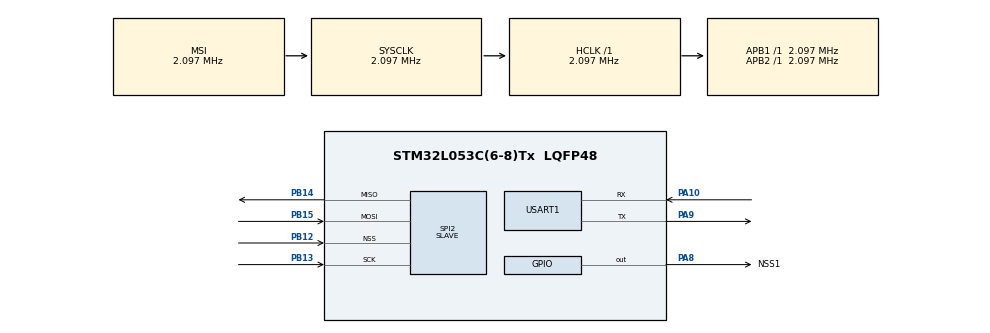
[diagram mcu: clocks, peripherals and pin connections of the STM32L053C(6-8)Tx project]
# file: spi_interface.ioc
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Mcu.Family=STM32L0
Mcu.Name=STM32L053C(6-8)Tx
Mcu.Package=LQFP48
NVIC.SPI2_IRQn=true\:0\:0\:false\:false\:true\:true\:true\:true
NVIC.USART1_IRQn=true\:0\:0\:false\:false\:true\:true\:true\:true
PA10.Mode=Asynchronous
PA10.Signal=USART1_RX
PA8.GPIO_Label=NSS1
PA8.Signal=GPIO_Output
PA9.Mode=Asynchronous
PA9.Signal=USART1_TX
PB12.Mode=NSS_Signal_Hard_Input
PB12.Signal=SPI2_NSS
PB13.Mode=Full_Duplex_Slave
PB13.Signal=SPI2_SCK
PB14.Mode=Full_Duplex_Slave
PB14.Signal=SPI2_MISO
PB15.Mode=Full_Duplex_Slave
PB15.Signal=SPI2_MOSI
ProjectManager.HeapSize=0x200
ProjectManager.StackSize=0x400
ProjectManager.TargetToolchain=STM32CubeIDE
RCC.AHBFreq_Value=2097000
RCC.APB1Freq_Value=2097000
RCC.APB1TimFreq_Value=2097000
RCC.APB2Freq_Value=2097000
RCC.APB2TimFreq_Value=2097000
RCC.HSE_VALUE=8000000
RCC.HSI16_VALUE=16000000
RCC.HSI48_VALUE=48000000
RCC.HSI_VALUE=16000000
RCC.LSE_VALUE=32768
RCC.MSI_VALUE=2097000
RCC.SYSCLKFreq_VALUE=2097000
RCC.VCOOutputFreq_Value=48000000
SPI2.DataSize=SPI_DATASIZE_8BIT
SPI2.Direction=SPI_DIRECTION_2LINES
SPI2.Mode=SPI_MODE_SLAVE
SPI2.TIMode=SPI_TIMODE_DISABLE
SPI2.VirtualNSS=VM_NSSHARD
SPI2.VirtualType=VM_SLAVE
USART1.VirtualMode-Asynchronous=VM_ASYNC
board=custom

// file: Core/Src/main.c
/* USER CODE BEGIN Header */
/**
  ******************************************************************************
  * @file           : main.c
  * @brief          : Main program body
  ******************************************************************************
  * @attention
  *
  * Copyright (c) 2022 STMicroelectronics.
  * All rights reserved.
  *
  * This software is licensed under terms that can be found in the LICENSE file
  * in the root directory of this software component.
  * If no LICENSE file comes with this software, it is provided AS-IS.
  *
  ******************************************************************************
  */
/* USER CODE END Header */
#include "main.h"

/* USER CODE BEGIN Includes */
#include <stdio.h>
#include "Command_Handler.h"
#include <string.h>
/* USER CODE END Includes */

 SPI_HandleTypeDef hspi2;

UART_HandleTypeDef huart1;

void SystemClock_Config(void);
static void MX_GPIO_Init(void);
static void MX_SPI2_Init(void);
static void MX_USART1_UART_Init(void);

/* USER CODE BEGIN 0 */
//void _CS_LOW(){
//	HAL_GPIO_WritePin(NSS1_GPIO_Port, NSS1_Pin, GPIO_PIN_RESET);
//}
//void _CS_HIGH(){
//	HAL_GPIO_WritePin(NSS1_GPIO_Port, NSS1_Pin, GPIO_PIN_SET);
//}

void HAL_SPI_TxCpltCallback(SPI_HandleTypeDef * hspi)
{
//	uint8_t data = 0xAF;
//    HAL_UART_Transmit_IT(&huart2, &data, sizeof(data));
}
uint8_t state = receiving;
uint8_t RX_Data;
uint8_t TX_Data = 0x6A;
/* USER CODE END 0 */

int main(void)
{

  /* MCU Configuration--------------------------------------------------------*/

  /* Reset of all peripherals, Initializes the Flash interface and the Systick. */
  HAL_Init();

  /* Configure the system clock */
  SystemClock_Config();

  /* Initialize all configured peripherals */
  MX_GPIO_Init();
  MX_SPI2_Init();
  MX_USART1_UART_Init();
  /* USER CODE BEGIN 2 */

  uint8_t receive_buffer;
  DBG_PUT("Booted Successfully\r\n");
  /* USER CODE END 2 */

  /* Infinite loop */
  /* USER CODE BEGIN WHILE */
  while (1)
  {
		switch (state){
			case idle:
				state = receiving;
				break;
			case receiving:
				HAL_SPI_Receive(&hspi2, &RX_Data, sizeof(RX_Data), 2000);
				//HAL_SPI_Transmit(&hspi2, &TX_Data, sizeof(TX_Data), 1000);
				HAL_UART_Transmit(&huart1, &RX_Data, sizeof(RX_Data), 1000);
				state = idle;
				break;
			case handling_command:
				handle_command(RX_Data);
				state = receiving;
				break;
		  }

    /* USER CODE END WHILE */

    /* USER CODE BEGIN 3 */
  }

//  printf("Done");
  /* USER CODE END 3 */
}

void SystemClock_Config(void)
{
  RCC_OscInitTypeDef RCC_OscInitStruct = {0};
  RCC_ClkInitTypeDef RCC_ClkInitStruct = {0};
  RCC_PeriphCLKInitTypeDef PeriphClkInit = {0};

  /** Configure the main internal regulator output voltage
  */
  __HAL_PWR_VOLTAGESCALING_CONFIG(PWR_REGULATOR_VOLTAGE_SCALE1);

  /** Initializes the RCC Oscillators according to the specified parameters
  * in the RCC_OscInitTypeDef structure.
  */
  RCC_OscInitStruct.OscillatorType = RCC_OSCILLATORTYPE_MSI;
  RCC_OscInitStruct.MSIState = RCC_MSI_ON;
  RCC_OscInitStruct.MSICalibrationValue = 0;
  RCC_OscInitStruct.MSIClockRange = RCC_MSIRANGE_5;
  RCC_OscInitStruct.PLL.PLLState = RCC_PLL_NONE;
  if (HAL_RCC_OscConfig(&RCC_OscInitStruct) != HAL_OK)
  {
    Error_Handler();
  }

  /** Initializes the CPU, AHB and APB buses clocks
  */
  RCC_ClkInitStruct.ClockType = RCC_CLOCKTYPE_HCLK|RCC_CLOCKTYPE_SYSCLK
                              |RCC_CLOCKTYPE_PCLK1|RCC_CLOCKTYPE_PCLK2;
  RCC_ClkInitStruct.SYSCLKSource = RCC_SYSCLKSOURCE_MSI;
  RCC_ClkInitStruct.AHBCLKDivider = RCC_SYSCLK_DIV1;
  RCC_ClkInitStruct.APB1CLKDivider = RCC_HCLK_DIV1;
  RCC_ClkInitStruct.APB2CLKDivider = RCC_HCLK_DIV1;

  if (HAL_RCC_ClockConfig(&RCC_ClkInitStruct, FLASH_LATENCY_0) != HAL_OK)
  {
    Error_Handler();
  }
  PeriphClkInit.PeriphClockSelection = RCC_PERIPHCLK_USART1;
  PeriphClkInit.Usart1ClockSelection = RCC_USART1CLKSOURCE_PCLK2;
  if (HAL_RCCEx_PeriphCLKConfig(&PeriphClkInit) != HAL_OK)
  {
    Error_Handler();
  }
}

static void MX_SPI2_Init(void)
{

  /* SPI2 parameter configuration*/
  hspi2.Instance = SPI2;
  hspi2.Init.Mode = SPI_MODE_SLAVE;
  hspi2.Init.Direction = SPI_DIRECTION_2LINES;
  hspi2.Init.DataSize = SPI_DATASIZE_8BIT;
  hspi2.Init.CLKPolarity = SPI_POLARITY_LOW;
  hspi2.Init.CLKPhase = SPI_PHASE_1EDGE;
  hspi2.Init.NSS = SPI_NSS_HARD_INPUT;
  hspi2.Init.FirstBit = SPI_FIRSTBIT_MSB;
  hspi2.Init.TIMode = SPI_TIMODE_DISABLE;
  hspi2.Init.CRCCalculation = SPI_CRCCALCULATION_DISABLE;
  hspi2.Init.CRCPolynomial = 7;
  if (HAL_SPI_Init(&hspi2) != HAL_OK)
  {
    Error_Handler();
  }

}

static void MX_USART1_UART_Init(void)
{

  huart1.Instance = USART1;
  huart1.Init.BaudRate = 115200;
  huart1.Init.WordLength = UART_WORDLENGTH_8B;
  huart1.Init.StopBits = UART_STOPBITS_1;
  huart1.Init.Parity = UART_PARITY_NONE;
  huart1.Init.Mode = UART_MODE_TX_RX;
  huart1.Init.HwFlowCtl = UART_HWCONTROL_NONE;
  huart1.Init.OverSampling = UART_OVERSAMPLING_16;
  huart1.Init.OneBitSampling = UART_ONE_BIT_SAMPLE_DISABLE;
  huart1.AdvancedInit.AdvFeatureInit = UART_ADVFEATURE_NO_INIT;
  if (HAL_UART_Init(&huart1) != HAL_OK)
  {
    Error_Handler();
  }

}

static void MX_GPIO_Init(void)
{
  GPIO_InitTypeDef GPIO_InitStruct = {0};

  /* GPIO Ports Clock Enable */
  __HAL_RCC_GPIOB_CLK_ENABLE();
  __HAL_RCC_GPIOA_CLK_ENABLE();

  /*Configure GPIO pin Output Level */
  HAL_GPIO_WritePin(NSS1_GPIO_Port, NSS1_Pin, GPIO_PIN_RESET);

  /*Configure GPIO pin : NSS1_Pin */
  GPIO_InitStruct.Pin = NSS1_Pin;
  GPIO_InitStruct.Mode = GPIO_MODE_OUTPUT_PP;
  GPIO_InitStruct.Pull = GPIO_NOPULL;
  GPIO_InitStruct.Speed = GPIO_SPEED_FREQ_LOW;
  HAL_GPIO_Init(NSS1_GPIO_Port, &GPIO_InitStruct);

}

/* USER CODE BEGIN 4 */
void HAL_SPI_RxCpltCallback(SPI_HandleTypeDef * hspi)

{
	// Send something over MISO line (TODO: The data sent from the stm32 is incorrect as of right now)
	// HAL_SPI_Transmit(&hspi2, &TX_Data, sizeof(TX_Data), 100);

	state = receiving;
	char buf[64];
	sprintf(buf, "0x%x\r\n", RX_Data);
	// DBG_PUT(buf);

}
void DBG_PUT(char *str) {
	// Send the receive byte from the MOSI through UART
    HAL_UART_Transmit_IT(&huart1, (uint8_t *) str, strlen(str));
}
/* USER CODE END 4 */

void Error_Handler(void)
{
  __disable_irq();
  while (1)
  {
  }
}
